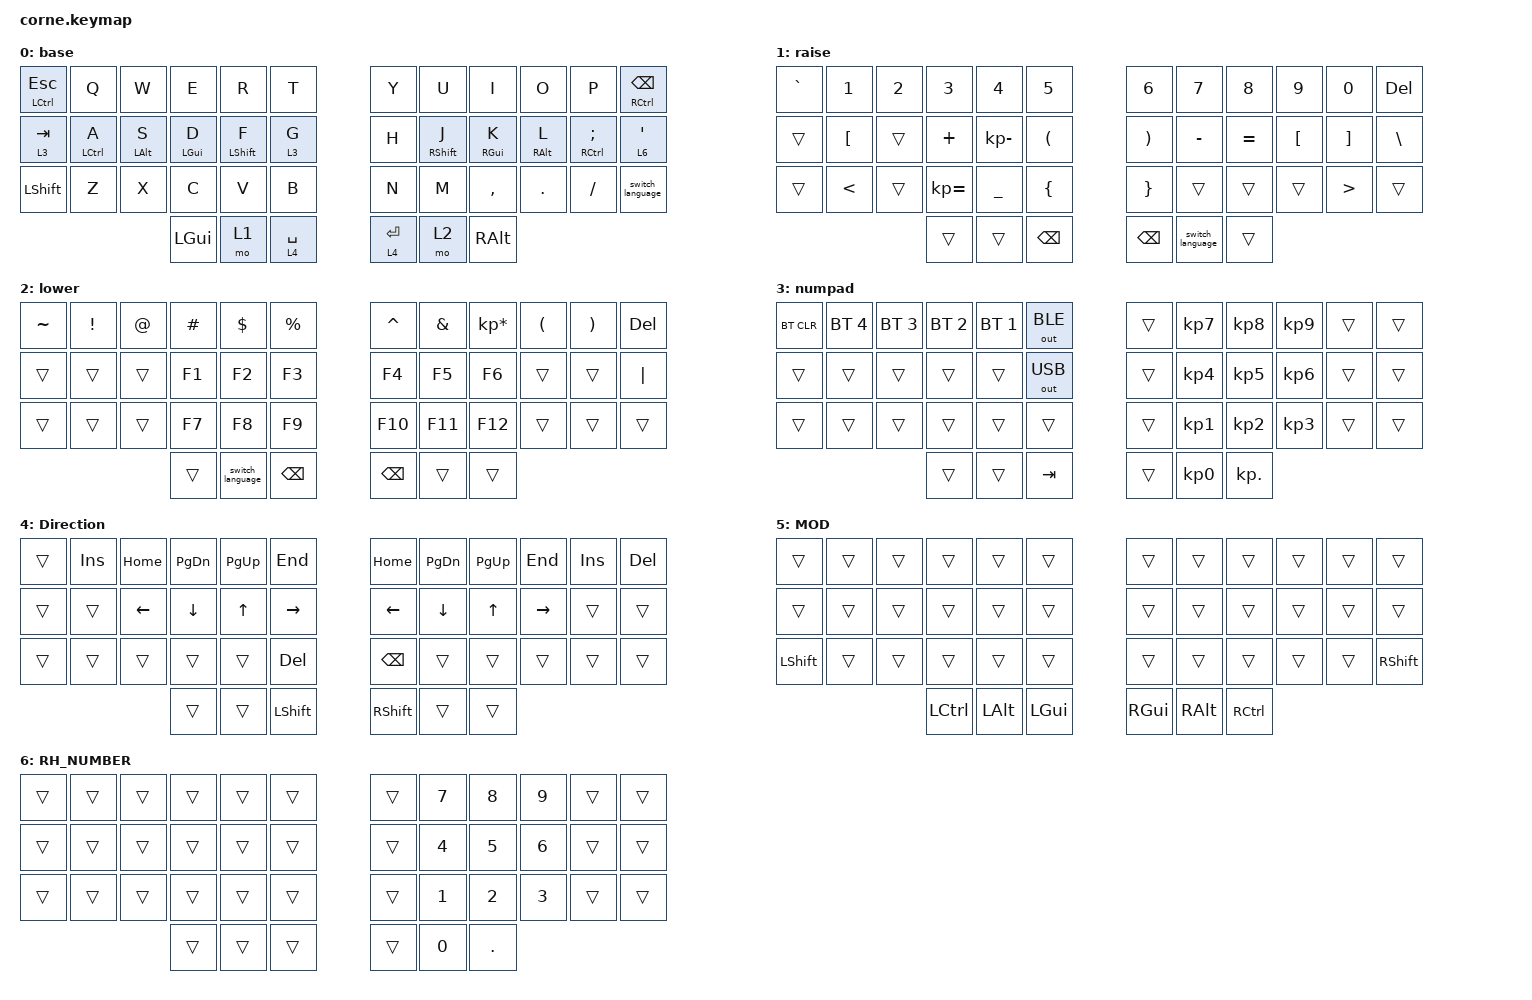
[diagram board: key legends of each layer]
/*
 * Copyright (c) 2020 The ZMK Contributors
 *
 * SPDX-License-Identifier: MIT
 */
/* THIS FILE WAS GENERATED!
 *
 * This file was generated automatically. You may or may not want to
 * edit it directly.
 */

#include <behaviors.dtsi>
#include <dt-bindings/zmk/keys.h>
#include <dt-bindings/zmk/bt.h>
#include <dt-bindings/zmk/outputs.h>

/ {
    combos {
        compatible = "zmk,combos";

        tab {
            bindings = <&kp TAB>;
            key-positions = <17 18>;
        };
        
        ctrl {
            bindings = <&kp LCTRL>;
            key-positions = <36 41>;
        };

        cmd {
            bindings = <&kp LCMD>;
            key-positions = <38 39>;
        };

        alt {
            bindings = <&kp LEFT_ALT>;
            key-positions = <40 37>;
        };

        shift {
            bindings = <&kp LSHIFT>;
            key-positions = <33 32>;
        };

        caps_word {
            bindings = <&caps_word>;
            key-positions = <33 26>;
        };

        delete {
            bindings = <&kp BACKSPACE>;
            key-positions = <32 33>;
        };

        esc {
            bindings = <&kp ESC>;
            key-positions = <2 3>;
        };

        shift {
            bindings = <&kp LEFT_SHIFT>;
            key-positions = <26 27>;
        };
    };

    macros {
        switch_language: switch_language {
            compatible = "zmk,behavior-macro";
            label = "switch_language";
            #binding-cells = <0>;
            bindings =
                <&macro_press>,
                <&kp LEFT_GUI>,
                <&macro_tap>,
                <&kp SPACE>,
                <&macro_release>,
                <&kp LEFT_GUI>;
        };
    };

    behaviors {
        hm: homerow_mods {
            compatible = "zmk,behavior-hold-tap";
            label = "HOMEROW_MODS";
            #binding-cells = <2>;
            tapping-term-ms = <150>;
            quick-tap-ms = <0>;
            flavor = "tap-preferred";
            bindings = <&kp>, <&kp>;
        };
    };
    
    keymap {
        compatible = "zmk,keymap";

        base {
            bindings = <
  &mt LCTRL ESC        &kp Q       &kp W       &kp E         &kp R      &kp T              &kp Y         &kp U         &kp I        &kp O          &kp P          &mt RCTRL BACKSPACE
      &lt 3 TAB  &hm LCTRL A  &hm LALT S  &hm LGUI D  &hm LSHIFT F      &lt 3 G            &kp H  &hm RSHIFT J    &hm RGUI K      &hm RALT L     &hm RCTRL SEMICOLON  &lt 6 APOSTROPHE
 &kp LSHIFT            &kp Z       &kp X       &kp C        &kp V       &kp B              &kp N        &kp M       &kp COMMA      &kp DOT      &kp FSLH     &switch_language
                                          &kp LGUI  &mo 1    &lt 4 SPACE          &lt 4  RET    &mo 2    &kp RALT 
            >;
        };

        raise {
            bindings = <
 &kp GRAVE         &kp N1  &kp N2        &kp N3          &kp N4          &kp N5                   &kp N6            &kp N7     &kp N8            &kp N9             &kp N0     &kp DELETE
    &trans       &kp LBKT  &trans      &kp PLUS    &kp KP_MINUS        &kp LPAR                 &kp RPAR         &kp MINUS  &kp EQUAL  &kp LEFT_BRACKET  &kp RIGHT_BRACKET  &kp BACKSLASH
    &trans  &kp LESS_THAN  &trans  &kp KP_EQUAL  &kp UNDERSCORE  &kp LEFT_BRACE          &kp RIGHT_BRACE            &trans     &trans            &trans   &kp GREATER_THAN         &trans
                                         &trans          &trans   &kp BACKSPACE            &kp BACKSPACE  &switch_language     &trans
            >;
        };

        lower {
            bindings = <
 &kp TILDE  &kp EXCL  &kp AT  &kp HASH          &kp DLLR      &kp PRCNT              &kp CARET  &kp AMPS  &kp KP_MULTIPLY  &kp LPAR  &kp RPAR   &kp DEL
    &trans    &trans  &trans    &kp F1            &kp F2         &kp F3                 &kp F4    &kp F5           &kp F6    &trans    &trans  &kp PIPE
    &trans    &trans  &trans    &kp F7            &kp F8         &kp F9                &kp F10   &kp F11          &kp F12    &trans    &trans    &trans
                                &trans  &switch_language  &kp BACKSPACE          &kp BACKSPACE    &trans           &trans
            >;
        };

        numpad {
            bindings = <
 &bt BT_CLR  &bt BT_SEL 4  &bt BT_SEL 3  &bt BT_SEL 2  &bt BT_SEL 1  &out OUT_BLE          &trans        &kp KP_N7   &kp KP_N8  &kp KP_N9  &trans  &trans
     &trans        &trans        &trans        &trans        &trans  &out OUT_USB          &trans        &kp KP_N4   &kp KP_N5  &kp KP_N6  &trans  &trans
     &trans        &trans        &trans        &trans        &trans        &trans          &trans        &kp KP_N1   &kp KP_N2  &kp KP_N3  &trans  &trans
                                               &trans        &trans        &kp TAB          &trans  &kp KP_NUMBER_0  &kp KP_DOT
            >;
        };

        Direction {
            bindings = <
 &trans  &kp INSERT  &kp HOME  &kp PAGE_DOWN  &kp PG_UP         &kp END                &kp HOME   &kp PAGE_DOWN   &kp PAGE_UP          &kp END  &kp INSERT  &kp DELETE
 &trans      &trans  &kp LEFT       &kp DOWN     &kp UP       &kp RIGHT          &kp LEFT_ARROW  &kp DOWN_ARROW  &kp UP_ARROW  &kp RIGHT_ARROW      &trans      &trans
 &trans      &trans    &trans         &trans     &trans       &kp DEL                  &kp BACKSPACE          &trans        &trans           &trans      &trans      &trans
                                      &trans     &trans  &kp LEFT_SHIFT              &kp RSHIFT          &trans        &trans
            >;
        };

        MOD {
            bindings = <
         &trans  &trans  &trans     &trans        &trans        &trans                 &trans         &trans     &trans  &trans  &trans           &trans
         &trans  &trans  &trans     &trans        &trans        &trans                 &trans         &trans     &trans  &trans  &trans           &trans
 &kp LEFT_SHIFT  &trans  &trans     &trans        &trans        &trans                 &trans         &trans     &trans  &trans  &trans  &kp RIGHT_SHIFT
                                 &kp LCTRL  &kp LEFT_ALT  &kp LEFT_GUI          &kp RIGHT_GUI  &kp RIGHT_ALT  &kp RCTRL
            >;
        };

        RH_NUMBER {
            bindings = <
 &trans  &trans  &trans  &trans  &trans  &trans          &trans  &kp NUMBER_7  &kp NUMBER_8  &kp NUMBER_9  &trans  &trans
 &trans  &trans  &trans  &trans  &trans  &trans          &trans  &kp NUMBER_4  &kp NUMBER_5  &kp NUMBER_6  &trans  &trans
 &trans  &trans  &trans  &trans  &trans  &trans          &trans  &kp NUMBER_1  &kp NUMBER_2  &kp NUMBER_3  &trans  &trans
                         &trans  &trans  &trans          &trans  &kp NUMBER_0       &kp DOT
            >;
        };
    };
};
